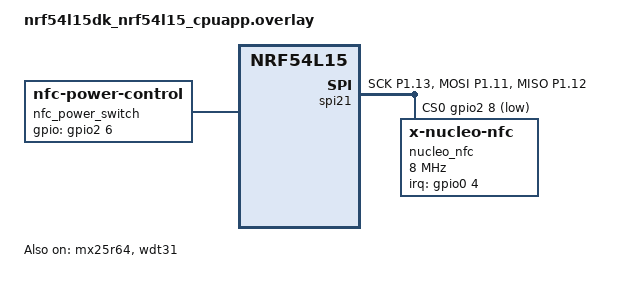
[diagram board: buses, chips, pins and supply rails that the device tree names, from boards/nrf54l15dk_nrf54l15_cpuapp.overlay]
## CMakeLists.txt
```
#
# Copyright (c) 2025 Nordic Semiconductor ASA
#
# SPDX-License-Identifier: LicenseRef-Nordic-5-Clause
#

cmake_minimum_required(VERSION 3.20.0)

find_package(Zephyr REQUIRED HINTS $ENV{ZEPHYR_BASE})
project(door-lock-app)

add_subdirectory(src/aliro)
add_subdirectory(src/matter)

file(GLOB app_sources CONFIGURE_DEPENDS src/*.cpp)
target_sources(app PRIVATE ${app_sources})
target_include_directories(app PRIVATE src)
```

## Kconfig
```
#
# Copyright (c) 2025 Nordic Semiconductor ASA
#
# SPDX-License-Identifier: LicenseRef-Nordic-5-Clause
#

mainmenu "nRF Door Lock and Access Control Add-on"

module = DOOR_LOCK_APP
module-str = NCS_DOOR_LOCK_APP
module-dep = LOG
module-help = Enables nRF Connect SDK Door Lock Application log messages.
source "$(ZEPHYR_BASE)/subsys/logging/Kconfig.template.log_config"

config DOOR_LOCK_CLI
	bool "CLI support"
	default y if !DOOR_LOCK_RELEASE
	select SHELL
	select REBOOT
	select DOOR_LOCK_ALIRO_READER_STORAGE_SHELL
	help
	  Enable support for Door Lock CLI.

config DOOR_LOCK_RELEASE
    bool "Release configuration"
    help
      In this configuration:
      Aliro stack logs are disabled.
      RFAL NFC driver logs are disabled.
      Shell commands are disabled.
      Device reset automatically on fatal error.

rsource "src/Kconfig"

rsource "Kconfig.defconfig"

# Source BLE defconfig when any BLE feature is enabled
if DOOR_LOCK_BLE_UWB || DOOR_LOCK_DFU_SMP_SERVICE || DOOR_LOCK_NUS_SERVICE
rsource "Kconfig.ble.defconfig"
endif # DOOR_LOCK_BLE_UWB || DOOR_LOCK_DFU_SMP_SERVICE || DOOR_LOCK_NUS_SERVICE

rsource "Kconfig.crypto.defconfig"

rsource "src/matter/Kconfig"
source "$(ZEPHYR_CONNECTEDHOMEIP_MODULE_DIR)/config/nrfconnect/chip-module/Kconfig.features"
source "$(ZEPHYR_CONNECTEDHOMEIP_MODULE_DIR)/config/nrfconnect/chip-module/Kconfig.defaults"

source "Kconfig.zephyr"
```

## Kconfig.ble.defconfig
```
#
# Copyright (c) 2025 Nordic Semiconductor ASA
#
# SPDX-License-Identifier: LicenseRef-Nordic-5-Clause
#

config BT
	default y

config BT_PERIPHERAL
	default y

config BT_SMP
	default y

config BT_PHY_UPDATE
	default n

config BT_BUF_ACL_RX_SIZE
	default 271

config BT_BUF_ACL_TX_SIZE
	default 271

config BT_L2CAP_TX_MTU
	default 267

config BT_BUF_ACL_TX_COUNT
	default BT_MAX_CONN if DOOR_LOCK_BLE_UWB

config BT_BUF_ACL_RX_COUNT_EXTRA
	default BT_MAX_CONN if DOOR_LOCK_BLE_UWB

config BT_GATT_DYNAMIC_DB
	default y

config BT_GATT_ENFORCE_SUBSCRIPTION
	default y

config BT_GATT_SERVICE_CHANGED
	default y

config BT_L2CAP_DYNAMIC_CHANNEL
	default y

config BT_CTLR_TX_PWR_DYNAMIC_CONTROL
	default y if !SOC_NRF5340_CPUAPP

config BT_BONDABLE
	default n

config BT_ID_MAX
	default 2 if DOOR_LOCK_BLE_UWB
	default 1

config BT_EXT_ADV
	default y if DOOR_LOCK_BLE_UWB
	default n

config BT_EXT_ADV_MAX_ADV_SET
	default 2 if DOOR_LOCK_BLE_UWB
	default 1

config BT_MAX_CONN
	default 5 if DOOR_LOCK_BLE_UWB && SOC_NRF5340_CPUAPP
	default 6 if DOOR_LOCK_BLE_UWB && (DOOR_LOCK_NUS_SERVICE || DOOR_LOCK_DFU_SMP_SERVICE)
	default 5 if DOOR_LOCK_BLE_UWB
	default 1

# Workaround for KRKNWK-20979.
# We must use BT multirole for pairing to work after Matter commissioning.
# TODO: Remove this once the issue is fixed.
choice BT_LL_SOFTDEVICE_VARIANT
	default BT_LL_SOFTDEVICE_MULTIROLE if SOC_SERIES_NRF54L && BT_SMP
endchoice
```

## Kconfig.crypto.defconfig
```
#
# Copyright (c) 2026 Nordic Semiconductor ASA
#
# SPDX-License-Identifier: LicenseRef-Nordic-5-Clause
#

config PSA_CRYPTO
	default y

config MBEDTLS_ENABLE_HEAP
	default y

config MBEDTLS_HEAP_SIZE
	default 8192

#   Matter + Aliro (NFC+5xBLE/UWB):  (16 + 64 + 5*11) slots -> 136
#   Matter + Aliro (NFC):           (64 + 16) slots ->  80
config MBEDTLS_PSA_KEY_SLOT_COUNT
	default 136 if DOOR_LOCK_BLE_UWB
	default 80
```

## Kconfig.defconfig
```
#
# Copyright (c) 2025 Nordic Semiconductor ASA
#
# SPDX-License-Identifier: LicenseRef-Nordic-5-Clause
#

config BT_DEVICE_NAME
	default "AliroDL"

config NCS_ALIRO_LIB
	default y

configdefault SECURE_STORAGE
	default y

# Aliro PSA Protected Storage UIDs do not fit in the default 30-bit range
configdefault SECURE_STORAGE_64_BIT_UID
	default y

config MBEDTLS_PSA_CRYPTO_STORAGE_C
	default y

# The ZMS store implementation supports only 30-bit UIDs
choice SECURE_STORAGE_ITS_STORE_IMPLEMENTATION
	default SECURE_STORAGE_ITS_STORE_IMPLEMENTATION_SETTINGS
endchoice

# Keep entries stored by the deprecated Trusted Storage library readable
configdefault SECURE_STORAGE_TRUSTED_STORAGE_COMPATIBILITY
	default y

choice SECURE_STORAGE_ITS_TRANSFORM_TSBC_KEY_PROVIDER
	default SECURE_STORAGE_ITS_TRANSFORM_TSBC_KEY_PROVIDER_HUK_LIBRARY
endchoice

config HW_UNIQUE_KEY_WRITE_ON_CRYPTO_INIT
	default y if (SOC_NRF5340_CPUAPP || SOC_SERIES_NRF54L || SOC_SERIES_NRF71)

# required by Aliro persistent storage
config FLASH
	default y

config FLASH_MAP
	default y

config NVS
	default y if !SOC_FLASH_NRF_RRAM

config NVS_LOOKUP_CACHE_SIZE
	default 512 if NVS

config NVS_LOOKUP_CACHE_FOR_SETTINGS
	default y if SETTINGS_NVS

config ZMS
	default y if SOC_FLASH_NRF_RRAM

config ZMS_LOOKUP_CACHE_SIZE
	default 512 if SETTINGS_ZMS

config ZMS_LOOKUP_CACHE_FOR_SETTINGS
	default y if SETTINGS_ZMS

config SETTINGS
	default y

config EVENTS
	default y

choice NVS_LOG_LEVEL_CHOICE
	default NVS_LOG_LEVEL_ERR
endchoice

choice ZMS_LOG_LEVEL_CHOICE
	default ZMS_LOG_LEVEL_ERR
endchoice

choice SETTINGS_LOG_LEVEL_CHOICE
	default SETTINGS_LOG_LEVEL_ERR
endchoice

choice LIBC_IMPLEMENTATION
    default PICOLIBC
endchoice

choice POSIX_SYSCONF_IMPL_CHOICE
    default POSIX_SYSCONF_IMPL_MACRO if PICOLIBC
endchoice

config SHELL_CMD_BUFF_SIZE
	default 256

config DOOR_LOCK_ALIRO_CRYPTO_UTILS
	default y

config DOOR_LOCK_SETTINGS_UTILS
	default y

config DOOR_LOCK_ALIRO_WORKQUEUE
	default y

configdefault DOOR_LOCK_ALIRO_INTERFACE_IMPL_OS
	default y

configdefault DOOR_LOCK_ALIRO_INTERFACE_IMPL_LOG
	default y

configdefault DOOR_LOCK_ALIRO_INTERFACE_IMPL_UWB
	default y if DOOR_LOCK_BLE_UWB

configdefault DOOR_LOCK_ALIRO_INTERFACE_IMPL_READER
	default y

configdefault DOOR_LOCK_ALIRO_INTERFACE_IMPL_CRYPTO
	default y

configdefault DOOR_LOCK_ALIRO_INTERFACE_IMPL_CI_CERT
	default y

configdefault DOOR_LOCK_ALIRO_INTERFACE_IMPL_CI_CERT_VALIDATION
	default y if DOOR_LOCK_CREDENTIAL_ISSUER_CA

configdefault DOOR_LOCK_ALIRO_INTERFACE_IMPL_OS_BLE_STACK_TIMERS
	default DOOR_LOCK_BLE_UWB_MAX_SESSIONS if DOOR_LOCK_BLE_UWB

config DOOR_LOCK_ALIRO_READER_STORAGE
	default y

configdefault DOOR_LOCK_BLE_UWB_MAX_SESSIONS
	default 1 if DOOR_LOCK_BLE_UWB

configdefault DOOR_LOCK_ALIRO_L2CAP_SERVER_MAX_SESSIONS
	default DOOR_LOCK_BLE_UWB_MAX_SESSIONS if DOOR_LOCK_BLE_UWB

configdefault DOOR_LOCK_ALIRO_BLE_SERVICE_MAX_SESSIONS
	default DOOR_LOCK_BLE_UWB_MAX_SESSIONS if DOOR_LOCK_BLE_UWB

configdefault DOOR_LOCK_BLE_MANAGER
	default y

configdefault CHIP_BLE_MULTI_IDENTITY_SUPPORT
	default y if DOOR_LOCK_BLE_UWB
```

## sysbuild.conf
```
#
# Copyright (c) 2026 Nordic Semiconductor
#
# SPDX-License-Identifier: LicenseRef-Nordic-5-Clause
#

SB_CONFIG_MATTER_ADD_ON=y

SB_CONFIG_MATTER_ADD_ON_FACTORY_DATA_MERGE_WITH_FIRMWARE=y

SB_CONFIG_MERGED_HEX_FILES=y
```

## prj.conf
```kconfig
#
# Copyright (c) 2025 Nordic Semiconductor ASA
#
# SPDX-License-Identifier: LicenseRef-Nordic-5-Clause
#

#
# Aliro
#

CONFIG_NCS_ALIRO=y
CONFIG_DOOR_LOCK_ALIRO_LOCK_SIM=y

# Basic system configuration
CONFIG_CPP=y
CONFIG_STD_CPP17=y
CONFIG_REQUIRES_FULL_LIBCPP=y
CONFIG_RESET_ON_FATAL_ERROR=n
CONFIG_ASSERT=y
CONFIG_MPU_STACK_GUARD=y
CONFIG_SYS_HEAP_RUNTIME_STATS=y
CONFIG_THREAD_NAME=y

# Stack sizes
CONFIG_SYSTEM_WORKQUEUE_STACK_SIZE=3072
CONFIG_SHELL_STACK_SIZE=4096

# Logging
CONFIG_CONSOLE=y
CONFIG_LOG=y
CONFIG_LOG_MODE_DEFERRED=y
CONFIG_LOG_BUFFER_SIZE=4096
CONFIG_DOOR_LOCK_ALIRO_NFC_TRANSPORT_LOG_LEVEL_DBG=y
CONFIG_DOOR_LOCK_ALIRO_UWB_LOG_LEVEL_INF=y
CONFIG_USE_SEGGER_RTT=n
CONFIG_LOG_BACKEND_RTT=n
CONFIG_LOG_BACKEND_SHOW_COLOR=n
CONFIG_DOOR_LOCK_APP_LOG_LEVEL_INF=y
CONFIG_BT_HCI_CORE_LOG_LEVEL_ERR=y
CONFIG_BT_HCI_DRIVER_LOG_LEVEL_ERR=y
CONFIG_MATTER_LOG_LEVEL_INF=y
CONFIG_CHIP_APP_LOG_LEVEL=3

# Disable unused shell features
CONFIG_SHELL_VT100_COLORS=n
CONFIG_SHELL_HISTORY=n
CONFIG_SHELL_WILDCARD=n

# Set shell configuration
CONFIG_SHELL_MINIMAL=n
CONFIG_SHELL_DEVICE_HELPERS=y

# Increase shell buffer sizes
CONFIG_SHELL_BACKEND_SERIAL_RX_RING_BUFFER_SIZE=2048
CONFIG_SHELL_BACKEND_SERIAL_TX_RING_BUFFER_SIZE=1024

# Adjust logs queue size
CONFIG_SHELL_BACKEND_SERIAL_LOG_MESSAGE_QUEUE_SIZE=2048

# Workaround for Murata issue:
# https://github.com/aliro-access-control/aliro-actuator/issues/114
CONFIG_BT_GAP_AUTO_UPDATE_CONN_PARAMS=n

#
# Matter
#

# Enable CHIP
CONFIG_CHIP=y
CONFIG_CHIP_DEVICE_PRODUCT_NAME="Door Lock"

# Enable Matter extended announcement and increase duration to 1 hour.
CONFIG_CHIP_BLE_EXT_ADVERTISING=y
CONFIG_CHIP_BLE_ADVERTISING_DURATION=60

# Enable Factory Data feature
CONFIG_CHIP_FACTORY_DATA=y
CONFIG_CHIP_FACTORY_DATA_BUILD=y

# Enable DK library
CONFIG_DK_LIBRARY=y

# Increase BT RX stack size to prevent stack overflow during BLE pairing
# Note: This workaround will be resolved in ncs v3.2.0 release
CONFIG_BT_RX_STACK_SIZE=2048

# Increase the heap size to 16K as Aliro+Matter configuration requires more memory.
# It's visible when working with ecosystems.
CONFIG_CHIP_MALLOC_SYS_HEAP_SIZE=16384

# Disable all logs by default to save memory,
# except those explicitly enabled for Matter and Aliro related.
CONFIG_LOG_DEFAULT_LEVEL=0

CONFIG_CHIP_NFC_ONBOARDING_PAYLOAD=n
CONFIG_CHIP_QSPI_NOR_POWER_MANAGEMENT_SUPPORT=n

# Required for Time Synchronization cluster
CONFIG_CHIP_ENABLE_READ_CLIENT=y

# Enable Matter shell
CONFIG_CHIP_LIB_SHELL=y
CONFIG_MATTER_TEST_SHELL=y

# Enable Matter Access module
CONFIG_DOOR_LOCK_MATTER_ACCESS=y
CONFIG_DOOR_LOCK_MATTER_ACCESS_CREDENTIAL_TYPES_PIN=y
CONFIG_DOOR_LOCK_MATTER_ACCESS_CREDENTIAL_TYPES_ALIRO=y
CONFIG_DOOR_LOCK_MATTER_ACCESS_MAX_CREDENTIAL_LENGTH=65

# Override default discriminator (3003) and passcode (30033003)
CONFIG_CHIP_DEVICE_DISCRIMINATOR=0xBBB
CONFIG_CHIP_DEVICE_SPAKE2_PASSCODE=30033003

# 32774 == 0x8006 (example lock-app)
CONFIG_CHIP_DEVICE_PRODUCT_ID=32774

# Suspend devices when the CPU goes into sleep
CONFIG_PM_DEVICE=y
CONFIG_PM_DEVICE_RUNTIME=y

# Try to disable unused RAM blocks to reduce power consumption
CONFIG_RAM_POWER_DOWN_LIBRARY=y
```

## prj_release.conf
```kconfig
#
# Copyright (c) 2025 Nordic Semiconductor ASA
#
# SPDX-License-Identifier: LicenseRef-Nordic-5-Clause
#

#
# Aliro
#

CONFIG_NCS_ALIRO=y
CONFIG_DOOR_LOCK_ALIRO_LOCK_SIM=y

CONFIG_NCS_ALIRO_RELEASE=y

CONFIG_DOOR_LOCK_RELEASE=y

# Basic system configuration
CONFIG_CPP=y
CONFIG_STD_CPP17=y
CONFIG_REQUIRES_FULL_LIBCPP=y

# Stack sizes
CONFIG_SYSTEM_WORKQUEUE_STACK_SIZE=3072

#logging
CONFIG_LOG=n
CONFIG_USE_SEGGER_RTT=n

# Workaround for Murata issue:
# https://github.com/aliro-access-control/aliro-actuator/issues/114
CONFIG_BT_GAP_AUTO_UPDATE_CONN_PARAMS=n

#
# Matter
#

# Enable CHIP
CONFIG_CHIP=y
CONFIG_CHIP_DEVICE_PRODUCT_NAME="Door Lock"

# Enable Matter extended announcement and increase duration to 1 hour.
CONFIG_CHIP_BLE_EXT_ADVERTISING=y
CONFIG_CHIP_BLE_ADVERTISING_DURATION=60

# Enable Factory Data feature
CONFIG_CHIP_FACTORY_DATA=y
CONFIG_CHIP_FACTORY_DATA_BUILD=y

# Enable DK library
CONFIG_DK_LIBRARY=y

# Increase BT RX stack size to prevent stack overflow during BLE pairing
# Note: This workaround will be resolved in ncs v3.2.0 release
CONFIG_BT_RX_STACK_SIZE=2048

# Increase the heap size to 16K as Aliro+Matter configuration requires more memory.
# It's visible when working with ecosystems.
CONFIG_CHIP_MALLOC_SYS_HEAP_SIZE=16384

# Disable all logs by default to save memory,
# except those explicitly enabled for Matter and Aliro related.
CONFIG_LOG_DEFAULT_LEVEL=0

CONFIG_CHIP_NFC_ONBOARDING_PAYLOAD=n
CONFIG_CHIP_QSPI_NOR_POWER_MANAGEMENT_SUPPORT=n

# Required for Time Synchronization cluster
CONFIG_CHIP_ENABLE_READ_CLIENT=y

# Enable Matter Access module
CONFIG_DOOR_LOCK_MATTER_ACCESS=y
CONFIG_DOOR_LOCK_MATTER_ACCESS_CREDENTIAL_TYPES_PIN=y
CONFIG_DOOR_LOCK_MATTER_ACCESS_CREDENTIAL_TYPES_ALIRO=y
CONFIG_DOOR_LOCK_MATTER_ACCESS_MAX_CREDENTIAL_LENGTH=65

# Override default discriminator (3003) and passcode (30033003)
CONFIG_CHIP_DEVICE_DISCRIMINATOR=0xBBB
CONFIG_CHIP_DEVICE_SPAKE2_PASSCODE=30033003

# 32774 == 0x8006 (example lock-app)
CONFIG_CHIP_DEVICE_PRODUCT_ID=32774

# Suspend devices when the CPU goes into sleep
CONFIG_PM_DEVICE=y
CONFIG_PM_DEVICE_RUNTIME=y

# Try to disable unused RAM blocks to reduce power consumption
CONFIG_RAM_POWER_DOWN_LIBRARY=y

CONFIG_ASSERT=n
CONFIG_ASSERT_VERBOSE=n
CONFIG_ASSERT_NO_FILE_INFO=y

CONFIG_RESET_ON_FATAL_ERROR=y

CONFIG_UART_CONSOLE=n
CONFIG_SERIAL=n
CONFIG_SHELL=n
CONFIG_MATTER_TEST_SHELL=n
CONFIG_LOG_MODE_MINIMAL=n
CONFIG_SHELL_STACK_SIZE=4096

CONFIG_THREAD_NAME=n
CONFIG_BOOT_BANNER=n
CONFIG_NCS_BOOT_BANNER=n
CONFIG_PRINTK=n
CONFIG_PRINTK_SYNC=n
CONFIG_CHIP_LIB_SHELL=n
CONFIG_OPENTHREAD_SHELL=n
```

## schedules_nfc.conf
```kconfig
#
# Copyright (c) 2026 Nordic Semiconductor ASA
#
# SPDX-License-Identifier: LicenseRef-Nordic-5-Clause
#

# Switch the zap file path
CONFIG_MATTER_ZAP_FILE_PATH="${APPLICATION_CONFIG_DIR}/src/matter/zap_nfc_schedules/lock.zap"

# Enable schedules and read client configuration
CONFIG_DOOR_LOCK_MATTER_ACCESS_SCHEDULES=y
CONFIG_DOOR_LOCK_MATTER_ACCESS_DEBUG=y
CONFIG_CHIP_ENABLE_READ_CLIENT=y
```

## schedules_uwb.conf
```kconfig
#
# Copyright (c) 2026 Nordic Semiconductor ASA
#
# SPDX-License-Identifier: LicenseRef-Nordic-5-Clause
#

# Switch the zap file path
CONFIG_MATTER_ZAP_FILE_PATH="${APPLICATION_CONFIG_DIR}/src/matter/zap_uwb_schedules/lock.zap"

# Enable schedules and read client configuration
CONFIG_DOOR_LOCK_MATTER_ACCESS_SCHEDULES=y
CONFIG_DOOR_LOCK_MATTER_ACCESS_DEBUG=y
CONFIG_CHIP_ENABLE_READ_CLIENT=y
```

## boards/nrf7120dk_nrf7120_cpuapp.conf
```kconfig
#
# Copyright (c) 2026 Nordic Semiconductor ASA
#
# SPDX-License-Identifier: LicenseRef-Nordic-5-Clause
#

# Wi-Fi
CONFIG_CHIP_WIFI=y
CONFIG_WIFI_NRF71_PATCH=y

# Lower System ON idle current: see lib_nrf71_idle_power. Keep the
# default RAM_RETAIN_FULL tier; RAM_RETAIN_USED_ONLY has been observed
# to cause issues on Wi-Fi builds.
CONFIG_NRF71_IDLE_POWER=y

# TODO: MCUboot is currently not supported on the nRF7120 DK.
CONFIG_CHIP_BOOTLOADER_NONE=y

# TODO: Currently MRAM does not support clearing factory data, so we can not
# migrate the DAC private key
CONFIG_CHIP_CRYPTO_PSA_MIGRATE_DAC_PRIV_KEY=n

# TODO: Enabling low-power mode unconditionally gives BLE more radio time,
# allowing the device to connect to Wi-Fi and send responses over BLE.
CONFIG_NRF_WIFI_LOW_POWER=y

# Flash controller used by the settings and factory data storage
CONFIG_FLASH_MSPI_NOR=y
CONFIG_FLASH_MSPI_NOR_LAYOUT_PAGE_SIZE=4096

# The nRF71 idle power library manages the RAM retention on this board
CONFIG_RAM_POWER_DOWN_LIBRARY=n

# Disable Murata workaround
CONFIG_BT_GAP_AUTO_UPDATE_CONN_PARAMS=y

# Activate LTO
CONFIG_LTO=y
CONFIG_ISR_TABLES_LOCAL_DECLARATION=y
```

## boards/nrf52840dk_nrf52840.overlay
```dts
/*
 * Copyright (c) 2025 Nordic Semiconductor ASA
 *
 * SPDX-License-Identifier: LicenseRef-Nordic-5-Clause
 */

#include <door_lock/common/nrf52840_partitions.dtsi>

&pinctrl {
	spi0_default_alt: spi0_default_alt {
		group1 {
			psels = <NRF_PSEL(SPIM_SCK, 1, 15)>,
				<NRF_PSEL(SPIM_MOSI, 1, 13)>,
				<NRF_PSEL(SPIM_MISO, 1, 14)>;
		};
	};

	spi0_sleep_alt: spi0_sleep_alt {
		group1 {
			psels = <NRF_PSEL(SPIM_SCK, 1, 15)>,
				<NRF_PSEL(SPIM_MOSI, 1, 13)>,
				<NRF_PSEL(SPIM_MISO, 1, 14)>;
			low-power-enable;
		};
	};
};

&spi0 {
	compatible = "nordic,nrf-spi";
	status = "okay";
	cs-gpios = <&gpio1 12 GPIO_ACTIVE_LOW>;

	pinctrl-0 = <&spi0_default_alt>;
	pinctrl-1 = <&spi0_sleep_alt>;
	pinctrl-names = "default", "sleep";

	nucleo_nfc@0 {
		compatible = "x-nucleo-nfc";
		reg = <0>;
		spi-max-frequency = <DT_FREQ_M(8)>;
		spi-cs-setup-delay-ns = <1000>;
		spi-cs-hold-delay-ns = <1000>;
		irq-gpios = <&gpio0 3 GPIO_ACTIVE_HIGH>;
		reset-gpios = <&gpio1 10 (GPIO_ACTIVE_LOW | GPIO_PULL_DOWN)>;
	};
};

&spi1 {
	status = "disabled";
};

&spi2 {
	status = "disabled";
};

&spi3 {
	status = "disabled";
};

/ {
	chosen {
		nordic,pm-ext-flash = &mx25r64;
	};
};

&mx25r64 {
	status = "okay";
};

&gpio0 {
	status = "okay";
	/* Use PORT event rather than GPIOTE IN event, to save power */
	sense-edge-mask = <0x00000008>; /* P0.03 */
};
```

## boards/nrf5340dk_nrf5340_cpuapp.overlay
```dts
/*
 * Copyright (c) 2025 Nordic Semiconductor ASA
 *
 * SPDX-License-Identifier: LicenseRef-Nordic-5-Clause
 */

#include <door_lock/common/nrf5340_cpuapp_partitions.dtsi>
#include <zephyr/dt-bindings/ipc_service/static_vrings.h>

/ {
	chosen {
		nordic,pm-ext-flash = &mx25r64;
	};
};

/* Set IPC thread priority to the highest value to not collide with other threads. */
&ipc0 {
	zephyr,priority = <0 PRIO_COOP>;
};

&pinctrl {
	spi1_default_alt: spi1_default_alt {
		group1 {
			psels = <NRF_PSEL(SPIM_SCK, 1, 15)>,
				<NRF_PSEL(SPIM_MOSI, 1, 13)>,
				<NRF_PSEL(SPIM_MISO, 1, 14)>;
		};
	};

	spi1_sleep_alt: spi1_sleep_alt {
		group1 {
			psels = <NRF_PSEL(SPIM_SCK, 1, 15)>,
				<NRF_PSEL(SPIM_MOSI, 1, 13)>,
				<NRF_PSEL(SPIM_MISO, 1, 14)>;
			low-power-enable;
		};
	};
};

&spi1 {
	compatible = "nordic,nrf-spim";
	status = "okay";
	cs-gpios = <&gpio1 12 GPIO_ACTIVE_LOW>;

	pinctrl-0 = <&spi1_default_alt>;
	pinctrl-1 = <&spi1_sleep_alt>;
	pinctrl-names = "default", "sleep";

	nucleo_nfc@0 {
		compatible = "x-nucleo-nfc";
		reg = <0>;
		spi-max-frequency = <DT_FREQ_M(4)>;
		spi-cs-setup-delay-ns = <1000>;
		spi-cs-hold-delay-ns = <1000>;
		irq-gpios = <&gpio0 4 GPIO_ACTIVE_HIGH>;
		reset-gpios = <&gpio1 10 (GPIO_ACTIVE_LOW | GPIO_PULL_DOWN)>;
	};
};

&mx25r64 {
	status = "okay";

	partitions {
		external_nvs_partition: partition@12f000 {
			label = "external-nvs";
			reg = <0x0012f000 DT_SIZE_K(128)>;
		};
	};
};

&gpio0 {
	status = "okay";
	/* Use PORT event rather than GPIOTE IN event, to save power */
	sense-edge-mask = <0x00000010>; /* P0.04 */
};
```

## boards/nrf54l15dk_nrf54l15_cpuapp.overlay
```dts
/*
 * Copyright (c) 2025 Nordic Semiconductor ASA
 *
 * SPDX-License-Identifier: LicenseRef-Nordic-5-Clause
 */

#include <door_lock/common/nrf54l15_cpuapp_partitions.dtsi>

/ {
	/* Disable buttons to avoid collision with interrupt and SCK pins for NFC tag reader.
	 * It also allows to use the button with the same label (1) on all supported dev kits.
	 */
	buttons {
		/delete-node/ button_0;
		/delete-node/ button_3;
	};

	leds {
		/delete-node/ led_0;
	};

	aliases {
		/delete-property/ sw0;
		/delete-property/ sw3;
		/delete-property/ led0;
		/delete-property/ mcuboot-led0;
		mcuboot-button0 = &button1;

		/* Use watchdog wdt31 as the application watchdog */
		watchdog0 = &wdt31;
	};

	nfc_power_switch: nfc_power_switch {
		status = "okay";
		compatible = "nfc-power-control";
		gpios = <&gpio2 6 GPIO_ACTIVE_HIGH>;
	};

	chosen {
		nordic,pm-ext-flash = &mx25r64;
	};
};

&pinctrl {
	spi21_default: spi21_default {
		group1 {
			psels = <NRF_PSEL(SPIM_SCK, 1, 13)>,
				<NRF_PSEL(SPIM_MOSI, 1, 11)>,
				<NRF_PSEL(SPIM_MISO, 1, 12)>;
		};
	};

	spi21_sleep: spi21_sleep {
		group1 {
			psels = <NRF_PSEL(SPIM_SCK, 1, 13)>,
				<NRF_PSEL(SPIM_MOSI, 1, 11)>,
				<NRF_PSEL(SPIM_MISO, 1, 12)>;
			low-power-enable;
		};
	};
};

&spi21 {
	compatible = "nordic,nrf-spim";
	status = "okay";
	cs-gpios = <&gpio2 8 GPIO_ACTIVE_LOW>;

	pinctrl-0 = <&spi21_default>;
	pinctrl-1 = <&spi21_sleep>;
	pinctrl-names = "default", "sleep";

	nucleo_nfc@0 {
		compatible = "x-nucleo-nfc";
		reg = <0>;
		spi-max-frequency = <DT_FREQ_M(8)>;
		spi-cs-setup-delay-ns = <1000>;
		spi-cs-hold-delay-ns = <1000>;
		irq-gpios = <&gpio0 4 GPIO_ACTIVE_HIGH>;
	};
};

&gpio0 {
	status = "okay";
};

&gpio1 {
	status = "okay";
};

&gpio2 {
	status = "okay";
};

&mx25r64 {
	status = "okay";

	partitions {
		external_nvs_partition: partition@165000 {
			label = "external-nvs";
			reg = <0x00165000 DT_SIZE_K(128)>;
		};
	};
};

&wdt31 {
	status = "okay";
};

&gpio0 {
	status = "okay";
	/* Use PORT event rather than GPIOTE IN event, to save power */
	sense-edge-mask = <0x00000010>; /* P0.04 */
};
```

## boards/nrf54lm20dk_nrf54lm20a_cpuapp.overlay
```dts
/*
 * Copyright (c) 2025 Nordic Semiconductor ASA
 *
 * SPDX-License-Identifier: LicenseRef-Nordic-5-Clause
 */

#include <door_lock/common/nrf54lm20_cpuapp_partitions.dtsi>

&pinctrl {
	spi21_default: spi21_default {
		group1 {
			psels = <NRF_PSEL(SPIM_SCK, 1, 13)>,
				<NRF_PSEL(SPIM_MOSI, 1, 11)>,
				<NRF_PSEL(SPIM_MISO, 1, 12)>;
		};
	};

	spi21_sleep: spi21_sleep {
		group1 {
			psels = <NRF_PSEL(SPIM_SCK, 1, 13)>,
				<NRF_PSEL(SPIM_MOSI, 1, 11)>,
				<NRF_PSEL(SPIM_MISO, 1, 12)>;
			low-power-enable;
		};
	};
};

&spi21 {
	compatible = "nordic,nrf-spim";
	status = "okay";
	cs-gpios = <&gpio1 10 GPIO_ACTIVE_LOW>;

	pinctrl-0 = <&spi21_default>;
	pinctrl-1 = <&spi21_sleep>;
	pinctrl-names = "default", "sleep";

	nucleo_nfc@0 {
		compatible = "x-nucleo-nfc";
		reg = <0>;
		spi-max-frequency = <DT_FREQ_M(4)>;
		spi-cs-setup-delay-ns = <1000>;
		spi-cs-hold-delay-ns = <1000>;
		irq-gpios = <&gpio1 14 GPIO_ACTIVE_HIGH>;
	};
};

/ {
	/* Disable button0 to align with the nRF54L15DK.
	 * It also allows to use the button with the same label (1) on all supported dev kits.
	 */
	buttons {
		/delete-node/ button_0;
	};

	leds {
		/delete-node/ led_0;
	};

	aliases {
		/delete-property/ sw0;
		/delete-property/ led0;
		/delete-property/ mcuboot-led0;
		mcuboot-button0 = &button1;

		/* Use watchdog wdt31 as the application watchdog */
		watchdog0 = &wdt31;
	};

	chosen {
		nordic,pm-ext-flash = &mx25r64;
	};
};

&gpio0 {
	status = "okay";
};

&gpio1 {
	status = "okay";
};

&mx25r64 {
	status = "okay";

	partitions {
		external_nvs_partition: partition@1E3000 {
			label = "external-nvs";
			reg = <0x001E3000 DT_SIZE_K(128)>;
		};
	};
};

&wdt31 {
	status = "okay";
};

&gpio1 {
	status = "okay";
	/* Use PORT event rather than GPIOTE IN event, to save power */
	sense-edge-mask = <0x00004000>; /* P1.14 */
};
```

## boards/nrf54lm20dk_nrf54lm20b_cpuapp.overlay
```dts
/*
 * Copyright (c) 2026 Nordic Semiconductor ASA
 *
 * SPDX-License-Identifier: LicenseRef-Nordic-5-Clause
 */

#include <door_lock/common/nrf54lm20_cpuapp_partitions.dtsi>

&pinctrl {
	spi21_default: spi21_default {
		group1 {
			psels = <NRF_PSEL(SPIM_SCK, 1, 13)>,
				<NRF_PSEL(SPIM_MOSI, 1, 11)>,
				<NRF_PSEL(SPIM_MISO, 1, 12)>;
		};
	};

	spi21_sleep: spi21_sleep {
		group1 {
			psels = <NRF_PSEL(SPIM_SCK, 1, 13)>,
				<NRF_PSEL(SPIM_MOSI, 1, 11)>,
				<NRF_PSEL(SPIM_MISO, 1, 12)>;
			low-power-enable;
		};
	};
};

&spi21 {
	compatible = "nordic,nrf-spim";
	status = "okay";
	cs-gpios = <&gpio1 10 GPIO_ACTIVE_LOW>;

	pinctrl-0 = <&spi21_default>;
	pinctrl-1 = <&spi21_sleep>;
	pinctrl-names = "default", "sleep";

	nucleo_nfc@0 {
		compatible = "x-nucleo-nfc";
		reg = <0>;
		spi-max-frequency = <DT_FREQ_M(4)>;
		spi-cs-setup-delay-ns = <1000>;
		spi-cs-hold-delay-ns = <1000>;
		irq-gpios = <&gpio1 14 GPIO_ACTIVE_HIGH>;
	};
};

/ {
	/* Disable button0 to align with the nRF54L15DK.
	 * It also allows to use the button with the same label (1) on all supported dev kits.
	 */
	buttons {
		/delete-node/ button_0;
	};

	leds {
		/delete-node/ led_0;
	};

	aliases {
		/delete-property/ sw0;
		/delete-property/ led0;
		/delete-property/ mcuboot-led0;
		mcuboot-button0 = &button1;

		/* Use watchdog wdt31 as the application watchdog */
		watchdog0 = &wdt31;
	};

	chosen {
		nordic,pm-ext-flash = &mx25r64;
	};
};

&gpio0 {
	status = "okay";
};

&gpio1 {
	status = "okay";
};

&mx25r64 {
	status = "okay";

	partitions {
		external_nvs_partition: partition@1E3000 {
			label = "external-nvs";
			reg = <0x001E3000 DT_SIZE_K(128)>;
		};
	};
};

&wdt31 {
	status = "okay";
};

&gpio1 {
	status = "okay";
	/* Use PORT event rather than GPIOTE IN event, to save power */
	sense-edge-mask = <0x00004000>; /* P1.14 */
};
```

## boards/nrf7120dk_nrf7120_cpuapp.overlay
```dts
/*
 * Copyright (c) 2026 Nordic Semiconductor ASA
 *
 * SPDX-License-Identifier: LicenseRef-Nordic-5-Clause
 */

#include <door_lock/common/nrf7120_cpuapp_partitions.dtsi>
#include <vendor/nordic/wifi/nrf7120_wifi_patch_0_1_0.dtsi>

&pinctrl {
	spi21_default: spi21_default {
		group1 {
			psels = <NRF_PSEL(SPIM_SCK, 1, 13)>,
				<NRF_PSEL(SPIM_MOSI, 1, 11)>,
				<NRF_PSEL(SPIM_MISO, 1, 12)>;
		};
	};

	spi21_sleep: spi21_sleep {
		group1 {
			psels = <NRF_PSEL(SPIM_SCK, 1, 13)>,
				<NRF_PSEL(SPIM_MOSI, 1, 11)>,
				<NRF_PSEL(SPIM_MISO, 1, 12)>;
			low-power-enable;
		};
	};
};

&spi21 {
	compatible = "nordic,nrf-spim";
	status = "okay";
	cs-gpios = <&gpio1 10 GPIO_ACTIVE_LOW>;

	pinctrl-0 = <&spi21_default>;
	pinctrl-1 = <&spi21_sleep>;
	pinctrl-names = "default", "sleep";

	nucleo_nfc@0 {
		compatible = "x-nucleo-nfc";
		reg = <0>;
		spi-max-frequency = <DT_FREQ_M(8)>;
		spi-cs-setup-delay-ns = <1000>;
		spi-cs-hold-delay-ns = <1000>;
		irq-gpios = <&gpio1 14 GPIO_ACTIVE_HIGH>;
	};
};

/ {
	/* Disable button0 to align with the nRF54L15DK.
	 * It also allows to use the button with the same label (1) on all supported dev kits.
	 */
	buttons {
		/delete-node/ button_0;
	};

	leds {
		/delete-node/ led_0;
	};

	aliases {
		/delete-property/ sw0;
		/delete-property/ led0;
		/delete-property/ mcuboot-led0;
		mcuboot-button0 = &button1;
		lock-sim-indicator = &led2; /* green LED2 on nRF7120DK */
		dfu-smp-button = &button1;
	};

	chosen {
		nordic,pm-ext-flash = &mx25u25645g;
		// TODO: MRAM is not chosen as the flash controller by default
		zephyr,flash-controller = &mram_controller;
	};
};

&gpio0 {
	status = "okay";
};

&gpio1 {
	status = "okay";
	/* Use PORT event rather than GPIOTE IN event, to save power */
	sense-edge-mask = <0x00004000>; /* P1.14 */
};

&mx25u25645g {
	partitions {
		external_nvs_partition: partition@3de000 {
			label = "external-nvs";
			reg = <0x003de000 DT_SIZE_K(128)>;
		};
	};
};

&wifi {
	status = "okay";
};
```

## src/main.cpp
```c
/*
 * Copyright (c) 2025 Nordic Semiconductor ASA
 *
 * SPDX-License-Identifier: LicenseRef-Nordic-5-Clause
 */

#include "matter/init.h"

#include "aliro/utils.h"

#include <crypto_utils/crypto_utils.h>
#include <zephyr/logging/log.h>

#include <cstdlib>

#ifdef CONFIG_DOOR_LOCK_BLE_UWB
#include "access_manager.h"
#include "uwb_impl.h"
#include <aliro/aliro.h>
#endif // CONFIG_DOOR_LOCK_BLE_UWB

LOG_MODULE_REGISTER(app, CONFIG_CHIP_APP_LOG_LEVEL);

int main()
{
	auto error = DoorLock::CryptoUtils::Init();
	VerifyOrDie(error == ALIRO_NO_ERROR, "Failed to initialize crypto utils");

#ifdef CONFIG_DOOR_LOCK_BLE_UWB

	constexpr Aliro::Uwb::UltraWideBand::Callbacks uwbCallbacks{
		.mRangingData =
			[](Aliro::Uwb::UltraWideBand::SessionContextHandle sessionContext,
			   const Aliro::UwbRangingData &uwbData) {
				Aliro::AccessManagerInstance().HandleRangingSessionData(sessionContext, uwbData);
			},
		.mRangingSessionStateChanged =
			[](Aliro::Uwb::UltraWideBand::SessionContextHandle sessionContext,
			   Aliro::RangingSessionState state) {
				Aliro::AccessManagerInstance().HandleRangingSessionStateChanged(sessionContext, state);
			},
		.mBleMessageTransmit =
			+[](Aliro::Uwb::UltraWideBand::SessionContextHandle sessionContext, const uint8_t *data,
			    size_t length) {
				Aliro::AliroStack::Instance().SendBleMessage(sessionContext, data, length);
			},
	};

	int uwbError = Aliro::Uwb::UltraWideBandInstance().Init(uwbCallbacks);
	if (uwbError == -ENOSYS) {
		LOG_INF("UWB is not implemented");
	} else if (uwbError != 0) {
		LOG_ERR("Failed to initialize UWB module: %d", uwbError);
	} else if (uwbError == 0) {
		auto *fwVersion = Aliro::Uwb::UltraWideBandInstance().GetFirmwareVersion();
		LOG_INF("UWB FW: %s", fwVersion ? fwVersion : "N/A");
	}

#endif // CONFIG_DOOR_LOCK_BLE_UWB

	int err = StartMatter();
	VerifyOrDie(err == EXIT_SUCCESS, "Failed to start Matter");

	return EXIT_SUCCESS;
}
```
